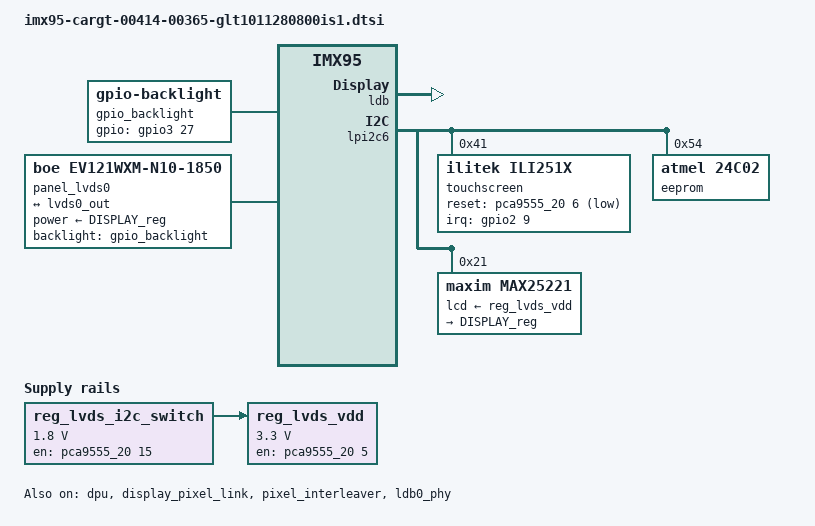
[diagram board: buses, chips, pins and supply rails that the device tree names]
// SPDX-License-Identifier: (GPL-2.0+ OR MIT)
/*
 * Copyright 2026 Cargt
 *
 * GT Display GLT1011280800IS1-CTP 10.1" 1280x800 LVDS panel with ILI251x
 * touch, on the 00414 SOM + 00365 carrier (OSM LVDS_A = i.MX 95 LVDS0).
 *
 * Ported from imx93-cargt-00363-00365-glt1011280800is1.dtsi by OSM-L signal
 * name. On the 00414:
 *   LVDS_BL_PWM          CCM_CLKO2. The pad has no TPM function, so the
 *                        backlight is on/off only (GPIO3_IO27, gpio-backlight)
 *                        until a SOM respin moves it to a PWM-capable pad.
 *   SPI_A_SDI            GPIO2_IO09, GPIO_IO09 (LVDSCT_nINT)
 *   I2C_B                LPI2C6 (touch, MAX25221, display EEPROM)
 * The 00365 LVDS_I2C_SEL switch (pca9555 P17) is driven high so the panel
 * I2C goes to I2C_B, as on the 00363. LVDS_EN is pca9555 P05 and LVDSCT_nRST
 * is P06.
 */

/ {
	gpio_backlight: gpio-backlight {
		compatible = "gpio-backlight";
		pinctrl-names = "default";
		pinctrl-0 = <&pinctrl_backlight_gpio>;
		gpios = <&gpio3 27 GPIO_ACTIVE_HIGH>;
		default-on;
	};

	reg_lvds_i2c_switch: regulator-lvds-i2c-switch {
		compatible = "regulator-fixed";
		regulator-name = "lvds_i2c_sw";
		regulator-min-microvolt = <1800000>;
		regulator-max-microvolt = <1800000>;
		gpio = <&pca9555_20 15 GPIO_ACTIVE_HIGH>;
		enable-active-high;
		regulator-always-on;
	};

	reg_lvds_vdd: regulator-lvds-vdd {
		compatible = "regulator-fixed";
		regulator-name = "lvds_vdd";
		regulator-min-microvolt = <3300000>;
		regulator-max-microvolt = <3300000>;
		gpio = <&pca9555_20 5 GPIO_ACTIVE_HIGH>;
		enable-active-high;
		regulator-always-on;
		vin-supply = <&reg_lvds_i2c_switch>;
	};

	panel_lvds0: panel-lvds0 {
		compatible = "boe,ev121wxm-n10-1850";
		backlight = <&gpio_backlight>;
		power-supply = <&DISPLAY_reg>;

		port {
			panel_lvds0_in: endpoint {
				remote-endpoint = <&lvds0_out>;
			};
		};
	};
};

&dpu {
	status = "okay";
};

&display_pixel_link {
	status = "okay";
};

&pixel_interleaver {
	#address-cells = <1>;
	#size-cells = <0>;
	status = "okay";

	channel@0 {
		reg = <0>;
		status = "okay";
	};
};

/* LDB PLL 497 MHz = 7 x 71 MHz pixel clock, as on the NXP BOE WXGA LVDS panel */
&ldb {
	assigned-clocks = <&scmi_clk IMX95_CLK_LDBPLL_VCO>,
			  <&scmi_clk IMX95_CLK_LDBPLL>;
	assigned-clock-rates = <2982000000>, <497000000>;
	status = "okay";

	channel@0 {
		status = "okay";

		port@1 {
			reg = <1>;

			lvds0_out: endpoint {
				remote-endpoint = <&panel_lvds0_in>;
			};
		};
	};
};

&ldb0_phy {
	status = "okay";
};

&lpi2c6 {
	touchscreen@41 {
		compatible = "ilitek,ili251x";
		reg = <0x41>;
		pinctrl-names = "default";
		pinctrl-0 = <&pinctrl_cap_touch>;
		interrupt-parent = <&gpio2>;
		interrupts = <9 IRQ_TYPE_EDGE_FALLING>;
		reset-gpios = <&pca9555_20 6 GPIO_ACTIVE_LOW>;
	};

	/* EEPROM on the display */
	eeprom@54 {
		compatible = "atmel,24c02";
		reg = <0x54>;
		pagesize = <16>;
	};

	max25221: pmic@21 {
		compatible = "maxim,max25221";
		reg = <0x21>;
		lcd-supply = <&reg_lvds_vdd>;

		regulators {
			DISPLAY_reg: DISPLAY {
				regulator-name = "DISPLAY";
			};
		};
	};
};

&scmi_iomuxc {
	pinctrl_cap_touch: captouchgrp {
		fsl,pins = <
			IMX95_PAD_GPIO_IO09__GPIO2_IO_BIT9		0x31e	/* LVDSCT_nINT */
		>;
	};

	pinctrl_backlight_gpio: backlight-gpiogrp {
		fsl,pins = <
			IMX95_PAD_CCM_CLKO2__GPIO3_IO_BIT27		0x31e	/* LVDS_BL_PWM */
		>;
	};
};
